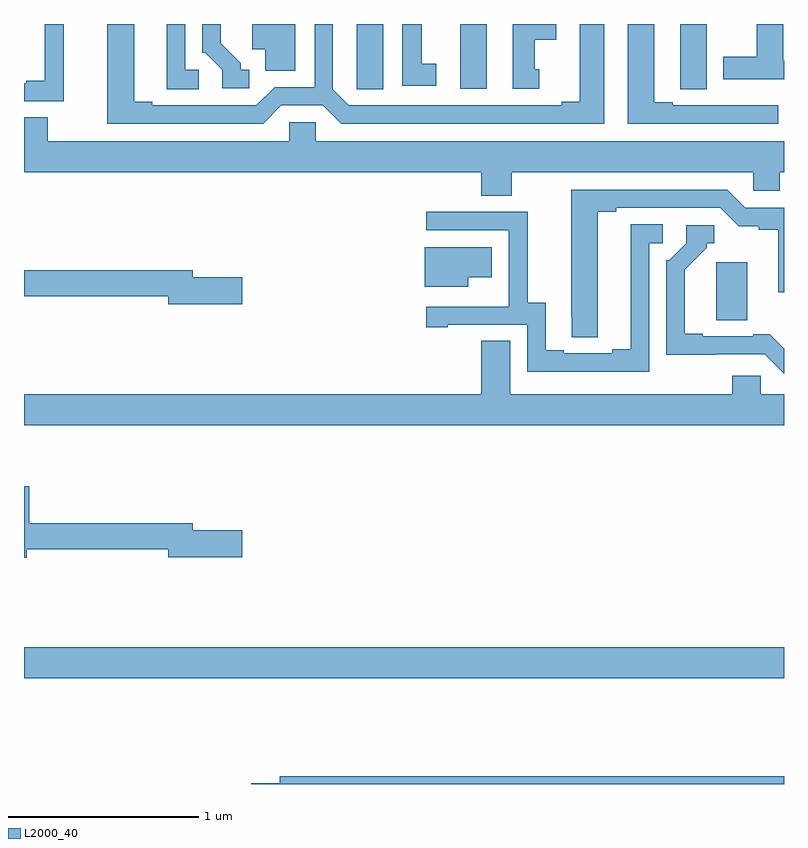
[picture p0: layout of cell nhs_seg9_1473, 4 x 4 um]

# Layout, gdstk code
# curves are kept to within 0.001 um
import gdstk
lib = gdstk.Library(unit=1e-6, precision=1e-09)
def R(c, l, rs):  # rectangles x0, y0, x1, y1
    for r in rs: c.add(gdstk.rectangle(r[:2], r[2:], *l))
def P(c, l, *ps):  # polygons
    for p in ps: c.add(gdstk.Polygon(p, *l))
L2000_40 = (2000, 40)

nhs_seg9_1473 = lib.new_cell('nhs_seg9_1473')
R(nhs_seg9_1473, L2000_40, [(193,1227.056,197,1227.22), (195.296,1230.159,195.436,1230.5)])
P(nhs_seg9_1473, L2000_40, [(194.355,1230.072),(194.573,1230.072),(194.669,1229.976),(196.054,1229.976),(196.054,1230.5),(195.926,1230.5),(195.926,1230.092),(195.83,1230.092),(195.83,1230.072),(194.709,1230.072),(194.625,1230.156),(194.625,1230.5),(194.529,1230.5),(194.529,1230.168),(194.319,1230.168),(194.223,1230.072),(193.675,1230.072),(193.675,1230.092),(193.579,1230.092),(193.579,1230.5),(193.439,1230.5),(193.439,1229.976),(194.259,1229.976)],
  [(195.169,1230.29),(195.094,1230.29),(195.094,1230.5),(194.99,1230.5),(194.99,1230.174),(195.169,1230.174)],
  [(194.185,1230.258),(194.14,1230.258),(194.14,1230.293),(194.035,1230.398),(194.035,1230.5),(193.938,1230.5),(193.938,1230.348),(193.953,1230.348),(194.043,1230.258),(194.043,1230.162),(194.185,1230.162)],
  [(194.428,1230.5),(194.201,1230.5),(194.201,1230.368),(194.27,1230.368),(194.27,1230.253),(194.428,1230.253)],
  [(193.921,1230.258),(193.848,1230.258),(193.848,1230.5),(193.751,1230.5),(193.751,1230.157),(193.921,1230.157)],
  [(193.209,1230.5),(193.109,1230.5),(193.109,1230.202),(193.013,1230.202),(193.013,1230.189),(193,1230.189),(193,1230.093),(193.209,1230.093)],
  [(196.594,1230.5),(196.454,1230.5),(196.454,1230.265),(196.455,1230.265),(196.455,1230.157),(196.594,1230.157)],
  [(196.969,1230.072),(196.856,1230.072),(196.856,1230.073),(196.69,1230.073),(196.69,1230.072),(196.414,1230.072),(196.414,1230.087),(196.318,1230.087),(196.318,1230.5),(196.178,1230.5),(196.178,1229.976),(196.969,1229.976)],
  [(194.89,1230.5),(194.75,1230.5),(194.75,1230.265),(194.751,1230.265),(194.751,1230.157),(194.89,1230.157)],
  [(195.712,1230.261),(195.688,1230.261),(195.688,1230.416),(195.802,1230.416),(195.802,1230.5),(195.572,1230.5),(195.572,1230.159),(195.712,1230.159)],
  [(197,1230.306),(196.996,1230.306),(196.996,1230.5),(196.856,1230.5),(196.856,1230.327),(196.679,1230.327),(196.679,1230.21),(197,1230.21)],
  [(195.567,1229.72),(196.839,1229.72),(196.839,1229.622),(196.977,1229.622),(196.977,1229.72),(197,1229.72),(197,1229.884),(194.535,1229.884),(194.535,1229.982),(194.397,1229.982),(194.397,1229.884),(193.125,1229.884),(193.125,1230.008),(193,1230.008),(193,1229.72),(195.407,1229.72),(195.407,1229.596),(195.567,1229.596)],
  [(196.021,1229.512),(196.117,1229.512),(196.117,1229.532),(196.665,1229.532),(196.763,1229.435),(196.866,1229.435),(196.866,1229.416),(196.97,1229.416),(196.97,1229.088),(197,1229.088),(197,1229.532),(196.797,1229.532),(196.701,1229.628),(195.881,1229.628),(195.882,1228.852),(196.021,1228.852)],
  [(196.29,1229.346),(196.363,1229.346),(196.363,1229.447),(196.193,1229.447),(196.193,1228.787),(196.097,1228.787),(196.097,1228.767),(195.841,1228.767),(195.841,1228.782),(195.745,1228.782),(195.745,1229.033),(195.651,1229.033),(195.651,1229.511),(195.117,1229.511),(195.117,1229.415),(195.552,1229.415),(195.552,1229.014),(195.551,1229.014),(195.551,1229.013),(195.117,1229.013),(195.117,1228.905),(195.229,1228.905),(195.229,1228.917),(195.648,1228.917),(195.648,1228.671),(196.29,1228.671)],
  [(197,1228.792),(196.924,1228.868),(196.838,1228.868),(196.838,1228.857),(196.573,1228.857),(196.573,1228.87),(196.477,1228.87),(196.477,1229.206),(196.594,1229.323),(196.594,1229.346),(196.633,1229.346),(196.633,1229.442),(196.485,1229.442),(196.485,1229.346),(196.395,1229.256),(196.38,1229.256),(196.38,1228.76),(196.899,1228.761),(197,1228.66)],
  [(195.337,1229.168),(195.463,1229.168),(195.463,1229.326),(195.11,1229.326),(195.11,1229.117),(195.337,1229.117)],
  [(196.806,1229.1),(196.807,1229.1),(196.807,1229.245),(196.643,1229.245),(196.643,1228.942),(196.806,1228.942)],
  [(194.149,1229.168),(193.888,1229.168),(193.888,1229.204),(193,1229.204),(193,1229.068),(193.76,1229.068),(193.76,1229.026),(194.149,1229.026)],
  [(197,1228.552),(196.878,1228.552),(196.878,1228.65),(196.727,1228.65),(196.727,1228.552),(195.559,1228.552),(195.559,1228.832),(195.407,1228.832),(195.407,1228.552),(193,1228.552),(193,1228.388),(197,1228.388)],
  [(193.015,1227.736),(193.76,1227.736),(193.76,1227.694),(194.149,1227.694),(194.149,1227.836),(193.888,1227.836),(193.888,1227.872),(193.028,1227.872),(193.028,1228.066),(193,1228.066),(193,1227.692),(193.015,1227.692)],
  [(197,1226.54),(194.345,1226.54),(194.345,1226.504),(194.196,1226.504),(194.196,1226.5),(197,1226.5)])

lib.write_gds('nhs_seg9_1473.gds')
